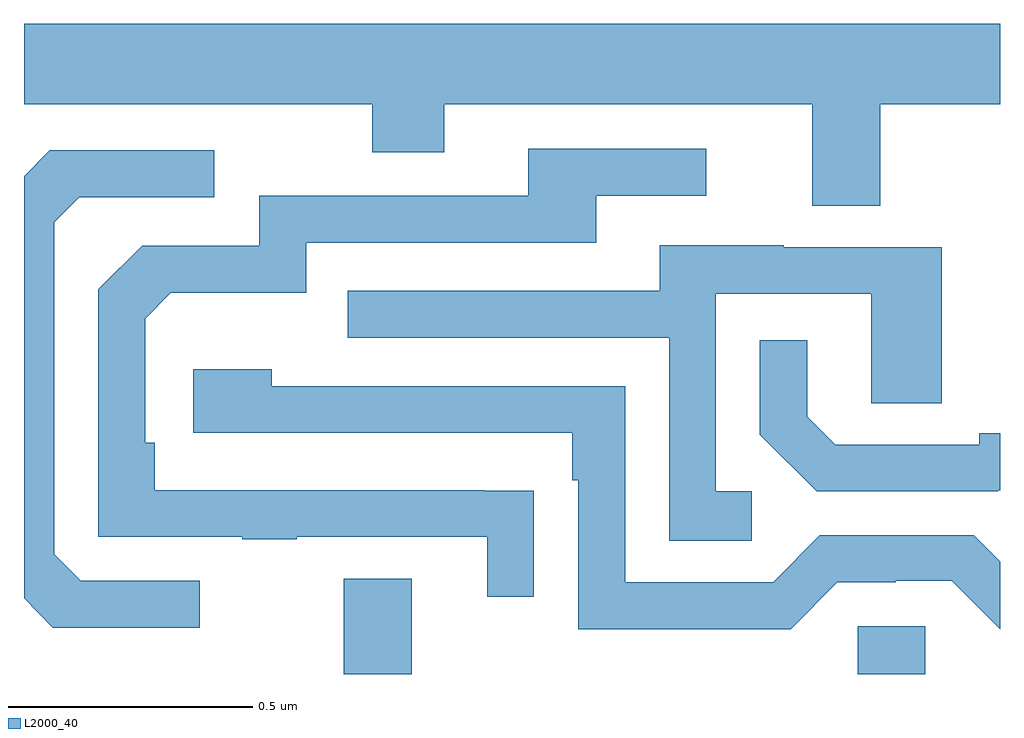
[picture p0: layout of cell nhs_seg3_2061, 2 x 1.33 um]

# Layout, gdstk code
import gdstk
lib = gdstk.Library(unit=1e-6, precision=1e-09)
def R(c, l, rs):  # rectangles x0, y0, x1, y1
    for r in rs: c.add(gdstk.rectangle(r[:2], r[2:], *l))
def P(c, l, *ps):  # polygons
    for p in ps: c.add(gdstk.Polygon(p, *l))
L2000_40 = (2000, 40)

nhs_seg3_2061 = lib.new_cell('nhs_seg3_2061')
R(nhs_seg3_2061, L2000_40, [(136.655,714.4,136.795,714.595), (137.709,714.4,137.847,714.498)])
P(nhs_seg3_2061, L2000_40, [(137.755,715.568),(138,715.568),(138,715.732),(136,715.732),(136,715.568),(136.714,715.568),(136.714,715.469),(136.861,715.469),(136.861,715.568),(137.615,715.568),(137.615,715.36),(137.755,715.36)],
  [(137.045,714.776),(136.943,714.776),(136.943,714.777),(136.268,714.777),(136.268,714.874),(136.248,714.874),(136.248,715.128),(136.301,715.181),(136.578,715.181),(136.578,715.284),(137.173,715.284),(137.173,715.38),(137.398,715.38),(137.398,715.476),(137.033,715.476),(137.033,715.38),(136.482,715.38),(136.482,715.278),(136.242,715.278),(136.152,715.188),(136.152,714.681),(136.447,714.681),(136.447,714.676),(136.559,714.676),(136.559,714.681),(136.949,714.681),(136.949,714.558),(137.045,714.558)],
  [(136.36,714.591),(136.116,714.591),(136.062,714.645),(136.062,715.326),(136.113,715.377),(136.39,715.377),(136.39,715.473),(136.053,715.473),(136,715.42),(136,714.555),(136.059,714.495),(136.36,714.495)],
  [(137.491,714.774),(137.418,714.774),(137.418,715.179),(137.736,715.179),(137.736,714.955),(137.881,714.955),(137.881,715.275),(137.557,715.275),(137.557,715.279),(137.303,715.279),(137.303,715.185),(136.663,715.185),(136.663,715.089),(137.322,715.089),(137.322,714.673),(137.491,714.673)],
  [(137.996,714.777),(138,714.777),(138,714.893),(137.957,714.893),(137.957,714.87),(137.662,714.87),(137.605,714.927),(137.605,715.084),(137.508,715.084),(137.508,714.89),(137.624,714.774),(137.996,714.774)],
  [(137.667,714.588),(137.786,714.588),(137.786,714.591),(137.901,714.591),(138,714.492),(138,714.63),(137.946,714.684),(137.631,714.684),(137.535,714.588),(137.232,714.588),(137.232,714.99),(136.508,714.99),(136.508,715.024),(136.347,715.024),(136.347,714.894),(137.123,714.894),(137.123,714.797),(137.136,714.797),(137.136,714.492),(137.571,714.492)])

lib.write_gds('nhs_seg3_2061.gds')
